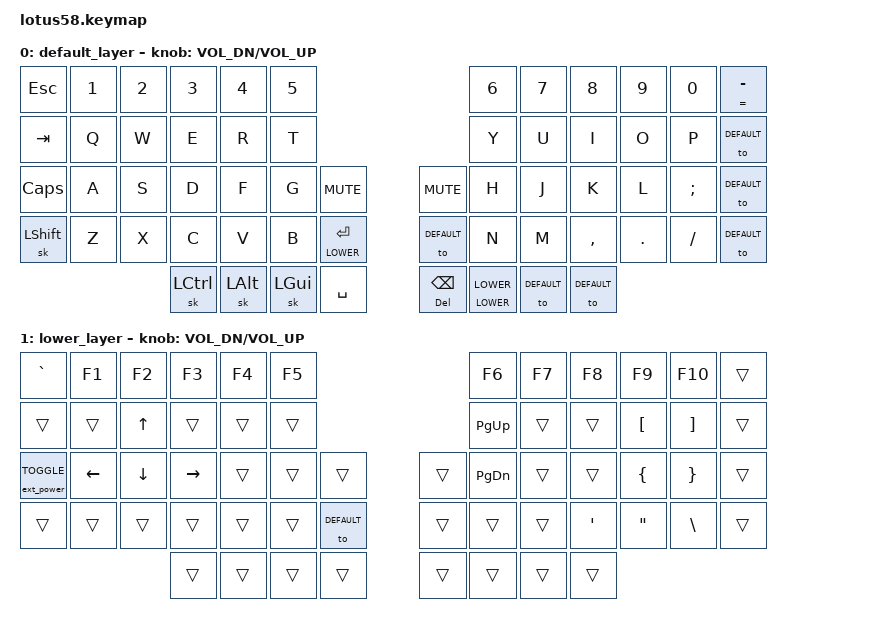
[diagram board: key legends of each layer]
/*
 * Copyright (c) 2022 The ZMK Contributors
 *
 * SPDX-License-Identifier: MIT
 */

#include <behaviors.dtsi>
#include <dt-bindings/zmk/keys.h>
#include <dt-bindings/zmk/bt.h>
#include <dt-bindings/zmk/outputs.h>
#include <dt-bindings/zmk/rgb.h>
#include <dt-bindings/led/led.h>
#include <dt-bindings/zmk/ext_power.h>

#define DEFAULT 0
#define LOWER   1

&spi1 {
  compatible = "nordic,nrf-spim";
  status = "okay";
  mosi-pin = <6>;
  // Unused pins, needed for SPI definition, but not used by the ws2812 driver itself.
  sck-pin = <5>;
  miso-pin = <7>;

  led_strip: ws2812@0 {
    compatible = "worldsemi,ws2812-spi";
    label = "WS2812";

    /* SPI */
    reg = <0>; /* ignored, but necessary for SPI bindings */
    spi-max-frequency = <4000000>;

    /* WS2812 */
    chain-length = <29>; /* number of LEDs */
    spi-one-frame = <0x70>;
    spi-zero-frame = <0x40>;
    color-mapping = <LED_COLOR_ID_GREEN
                          LED_COLOR_ID_RED
                          LED_COLOR_ID_BLUE>;
  };
};

&sk {
    release-after-ms = <1000>;
    quick-release;
};

/ {
    chosen {
      zmk,battery = &vbatt;
      zmk,underglow = &led_strip;
    };

    vbatt: vbatt {
        compatible = "zmk,battery-nrf-vddh";
        label = "VBATT";
    };
    
    combos {
        compatible = "zmk,combos";
        combo_dsklg {
            timeout-ms = <100>;
            key-positions = <24 52>;
            layers = <0>;
            bindings = <&kp LGUI>;
        };        
    };

    behaviors {
        htlsw: hold_tap_layer_switch {
            compatible = "zmk,behavior-hold-tap";
            label = "HOLD_TAP_LAYER_SWITCH";
            #binding-cells = <2>;
            flavor = "tap-preferred";
            tapping-term-ms = <350>;
            bindings = <&to>, <&kp>;
        };
        http: hold_tap_tap_preferred {
            compatible = "zmk,behavior-hold-tap";
            label = "HOLD_TAP_TAP_PREFERRED";
            #binding-cells = <2>;
            flavor = "tap-preferred";
            tapping-term-ms = <350>;
            bindings = <&kp>, <&kp>;
        };
        htp: hold_tap_preferred {
            compatible = "zmk,behavior-hold-tap";
            label = "HOLD_TAP_PREFERRED";
            #binding-cells = <2>;
            flavor = "hold-preferred";
            tapping-term-ms = <350>;
            quick-tap-ms = <200>;
            bindings = <&kp>, <&kp>;
        };
        stmo: sticky_layer_toggle {
            compatible = "zmk,behavior-hold-tap";
            label = "STICK_LAYER_TOGGLE";
            #binding-cells = <2>;
            bindings = <&mo>, <&sl>;
            tapping-term-ms = <350>;
            flavor = "tap-preferred";
        };
        // tapdances not working currently, dont use
        tdl: tapdance_cursor_left {
            compatible = "zmk,behavior-tap-dance";
            label = "TAPDANCE_MOVE_CURSOR_LEFT";
            #binding-cells = <0>;
            tapping-term-ms = <200>;
            bindings = <&kp RGUI>, <&kp LA(LEFT)>, <&kp LG(LEFT)>;
        };
        tdr: tapdance_cursor_right {
            compatible = "zmk,behavior-tap-dance";
            label = "TAPDANCE_MOVE_CURSOR_RIGHT";
            #binding-cells = <0>;
            tapping-term-ms = <200>;
            bindings = <&kp RCTRL>, <&kp LA(RIGHT)>, <&kp LG(RIGHT)>;
        };
        tdarr: tapdance_cursor_up_down {
            compatible = "zmk,behavior-tap-dance";
            label = "TAPDANCE_MOVE_CURSOR_UP_DOWN";
            #binding-cells = <0>;
            tapping-term-ms = <200>;
            bindings = <&kp RALT>, <&kp UP>, <&kp DOWN>;
        };
        
    };

    keymap {
        compatible = "zmk,keymap";

        default_layer {
//   ------------------------------------------------------------------------------------------------------------
//  0|  ESC  |  1  |  2  |  3   |  4   |  5   |                     |  6   |  7    |  8    |  9   |   0   |   -   | 11
// 12|  TAB  |  Q  |  W  |  E   |  R   |  T   |                     |  Y   |  U    |  I    |  O   |   P   |   [   | 23
// 24|  SFT  |  A  |  S  |  D   |  F   |  G   |  MUTE  |  | MUTE    |  H   |  J    |  K    |  L   |   ;   |   '   | 37
// 38|  CTRL |  Z  |  X  |  C   |  V   |  B   |  LOWER |  | PLAY    |  N   |  M    |  ,    |  .   |   /   |  RSFT | 51
// 52                    |LCTRL|  LALT | LGUI | SPACE  |  | BSPC    | RGUI |  RALT | RCTRL  |                        59
            bindings = <
&kp ESC    &kp N1 &kp N2  &kp N3     &kp N4    &kp N5                                                &kp N6             &kp N7             &kp N8       &kp N9    &kp N0    &http EQUAL MINUS
&kp TAB    &kp Q  &kp W   &kp E      &kp R     &kp T                                                 &kp Y              &kp U              &kp I        &kp O     &kp P     &to DEFAULT
&kp CAPS   &kp A  &kp S   &kp D      &kp F     &kp G     &kp C_MUTE                &kp C_MUTE         &kp H              &kp J              &kp K        &kp L     &kp SEMI   &to DEFAULT
&sk LSHIFT &kp Z  &kp X   &kp C      &kp V     &kp B     &htlsw LOWER ENTER         &to DEFAULT        &kp N              &kp M              &kp COMMA      &kp DOT  &kp FSLH  &to DEFAULT
                          &sk LCTRL  &sk LALT  &sk LGUI  &kp SPC                   &http DELETE BSPC   &stmo LOWER LOWER    &to DEFAULT    &to DEFAULT
            >;

            sensor-bindings = <&inc_dec_kp C_VOL_DN C_VOL_UP>;
        };

        lower_layer {
// ------------------------------------------------------------------------------------------------------------
// | `     |  F1  |  F2  |  F3  |  F4  |  F5  |                               |  F6  |  F7   |  F8   |  F9  |  F10  |   =   |
// | BTCLR | BT1  | BT2  | BT3  |  BT4 |  BT5 |                               | PGUP |       |   ^   |      |       |   ]   |
// | TGLPWR| RGBEFR | RGBEFF |  RGBDEF    |      |      |        |              |       | PGDN |    <- |   v   |  ->  |       |   \   |
// |       |TOGRGB| RGBRD| RGBRI|      |      |        |              |       |      |       |       |      |       |       |
//                       |      |      |      |  ENTER |              | DELETE|      |       |       |       
            bindings = <
&kp GRAVE                        &kp F1        &kp F2       &kp F3       &kp F4       &kp F5                                                 &kp F6           &kp F7    &kp F8     &kp F9     &kp F10    &trans
&trans                           &trans        &kp UP       &trans       &trans       &trans                                                 &kp PG_UP        &trans    &trans     &kp LBKT   &kp RBKT   &trans 
&ext_power EXT_POWER_TOGGLE_CMD  &kp LEFT      &kp DOWN     &kp RIGHT    &trans       &trans       &trans                        &trans      &kp PG_DN        &trans    &trans     &kp LBRC   &kp RBRC   &trans   
&trans                           &trans        &trans       &trans       &trans       &trans       &to DEFAULT                   &trans      &trans           &trans    &kp SQT     &kp DQT   &kp BSLH   &trans   
                                                            &trans       &trans       &trans       &trans                        &trans      &trans           &trans    &trans
            >;

            sensor-bindings = <&inc_dec_kp C_VOL_DN C_VOL_UP>;
        };
    };
};
